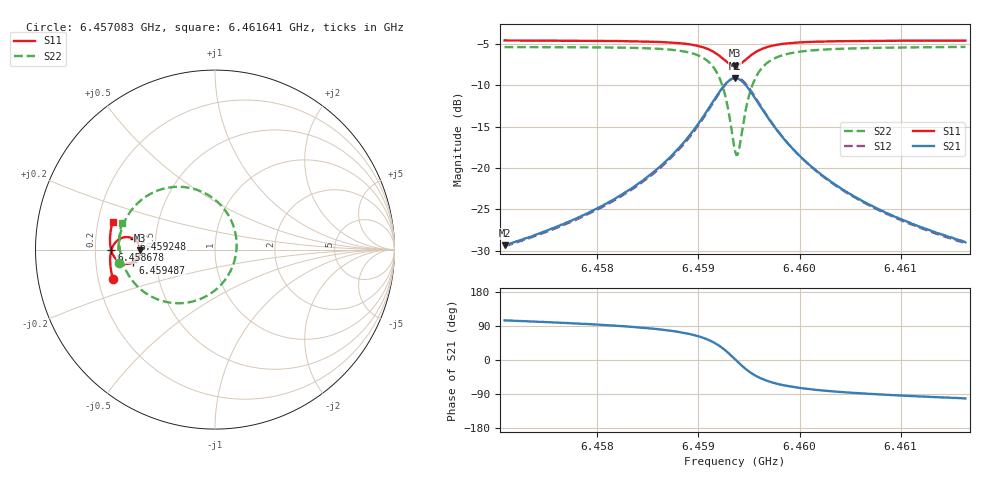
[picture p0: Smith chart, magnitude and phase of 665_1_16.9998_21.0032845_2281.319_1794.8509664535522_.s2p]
#  HZ  S  RI  R  50.00
! Rohde & Schwarz Vector Network Analyzer
! Rohde-Schwarz,ZNB20-2Port,1311601062101988,3.16
! Created: UTC 3/20/2024, 11:21:55 PM
! freq[Hz]  re:S11  im:S11  re:S21  im:S21  re:S12  im:S12  re:S22  im:S22
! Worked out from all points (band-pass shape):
!   401 points, 6.457083 GHz to 6.461641 GHz, reference 50 ohm
!   highest |S21| = -9.14 dB at 6.459362 GHz (marker M1); lowest = -29.4 dB at 6.457083 GHz (marker M2)
!   |S21| within 3 dB of the highest: 6.459135 GHz to 6.459592 GHz (456.5 kHz wide, 0.00707 % of centre)
!   lowest |S11| = -7.6 dB at 6.459362 GHz (marker M3), VSWR 2.43, Z = 20.6 - j0.217 ohm
!   |S11| at or under -10 dB: nowhere
!   |S22| runs from -18.4 to -5.3 dB; largest |S21 - S12| = 0.014
!   S11 on the Smith chart (normalised r, x): 6.457083 GHz: 0.26, -0.13; 6.458678 GHz: 0.27, -0.00; 6.459248 GHz: 0.37, +0.06; 6.459487 GHz: 0.37, -0.07; 6.461641 GHz: 0.26, +0.13
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6.4570825e9  -0.569 -0.1641  -0.00858 0.0329  -0.0067 0.0329  -0.5342 -0.0758
6.4578461e9  -0.5819 -0.097  -0.00494 0.0511  -0.00237 0.0504  -0.538 0.0144
6.4582677e9  -0.5843 -0.0545  0.0013 0.0707  0.00461 0.0691  -0.529 0.0818
6.4586096e9  -0.5799 -0.0134  0.0157 0.0995  0.0197 0.0967  -0.5023 0.1594
6.458678e9  -0.5775 -0.00397  0.021 0.1079  0.0252 0.1046  -0.4919 0.1795
6.4588717e9  -0.5645 0.0263  0.0482 0.1387  0.0522 0.1336  -0.4411 0.2485
6.4590199e9  -0.5416 0.0524  0.0938 0.1689  0.0971 0.162  -0.3564 0.3123
6.4591566e9  -0.4975 0.0696  0.1815 0.1849  0.1823 0.1774  -0.1961 0.35
6.4592478e9  -0.4526 0.0592  0.2719 0.1533  0.2718 0.1474  -0.0289 0.2987
6.4593162e9  -0.4234 0.027  0.3327 0.0808  0.3347 0.0758  0.0878 0.1683
6.4593617e9  -0.4163 -0.00435  0.3491 0.0123  0.353 0.00553  0.1205 0.0399
6.4593959e9  -0.4201 -0.0283  0.3434 -0.0407  0.3474 -0.0498  0.1091 -0.0609
6.4594415e9  -0.4359 -0.0548  0.3146 -0.1014  0.3169 -0.1134  0.0507 -0.176
6.4594871e9  -0.4582 -0.0715  0.2717 -0.1433  0.2712 -0.1566  -0.036 -0.2523
6.4595327e9  -0.4815 -0.0784  0.2264 -0.1659  0.2226 -0.1789  -0.1269 -0.2898
6.4595783e9  -0.5022 -0.0784  0.1853 -0.1746  0.1792 -0.1863  -0.2084 -0.2989
6.4597264e9  -0.5467 -0.0577  0.096 -0.1598  0.0874 -0.1662  -0.379 -0.2474
6.459886e9  -0.5682 -0.0298  0.0508 -0.131  0.0429 -0.1338  -0.46 -0.1736
6.4601253e9  -0.5808 0.00589  0.0216 -0.0986  0.0156 -0.0993  -0.5078 -0.0895
6.4604558e9  -0.5851 0.0456  0.00591 -0.0719  0.00166 -0.0714  -0.5284 -0.0116
6.4608888e9  -0.5828 0.0895  -0.00211 -0.0525  -0.00496 -0.0516  -0.5323 0.0591
6.461641e9  -0.5702 0.1561  -0.00704 -0.0347  -0.00869 -0.0339  -0.5201 0.1486
